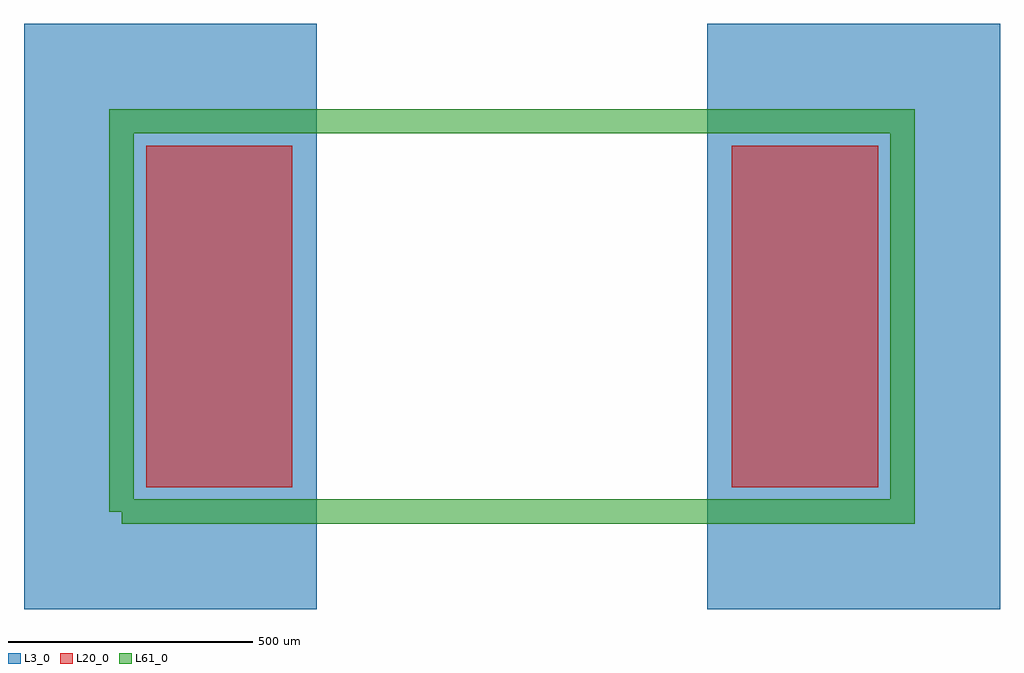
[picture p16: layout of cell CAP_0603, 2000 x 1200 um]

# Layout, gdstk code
import gdstk
lib = gdstk.Library(unit=1e-6, precision=1e-09)
def R(c, l, rs):  # rectangles x0, y0, x1, y1
    for r in rs: c.add(gdstk.rectangle(r[:2], r[2:], *l))
L3_0 = (3, 0)
L20_0 = (20, 0)
L61_0 = (61, 0)

cap_0603 = lib.new_cell('CAP_0603')
R(cap_0603, L3_0, [(-200,-200,400,1000), (1200,-200,1800,1000)])
R(cap_0603, L20_0, [(50,50,350,750), (1250,50,1550,750)])
cap_0603.add(gdstk.FlexPath([(0,0),(1600,0),(1600,800),(0,800),(0,0)], 50, ends="flush", simple_path=True, layer=61, datatype=0))  # L61_0

lib.write_gds('CAP_0603.gds')
